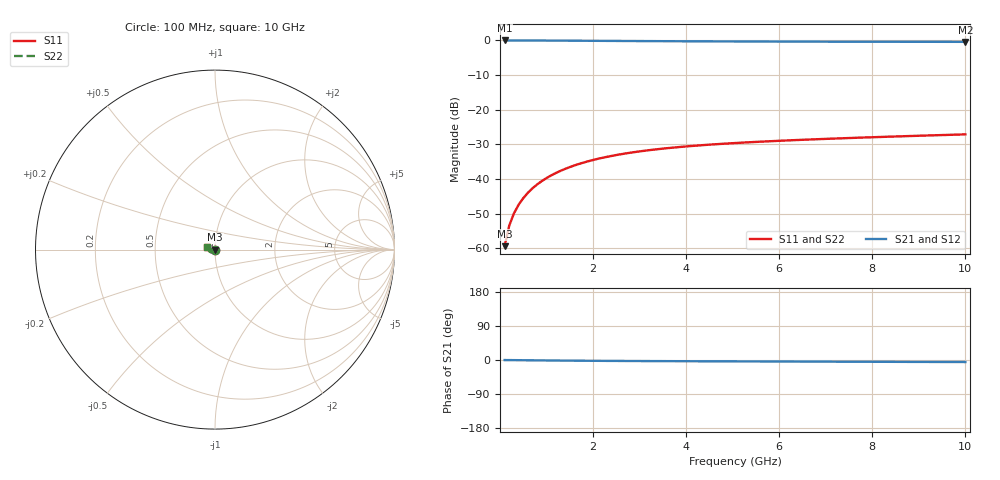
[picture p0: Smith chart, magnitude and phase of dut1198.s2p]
! Touchstone file exported from HFSS 2024.1.0
!  File:  C:/UserFiles/LocalFiles/RDL_TSV_Batchsim/temp_TSV1_1198_1780076220.aedt
!  Generated:  01:41:17 AM May 30, 2026
!  Design:  TSV1
!  Project:  temp_TSV1_1198_1780076220
!  Setup:  Setup1
!  Solution:  Sweep
! Variables:
!  dtsv = 8.96um
!  hbump = 3um
!  htsv = 82.71um
!  lrdl = 252.1521522um
!  p = 40
!  p1 = 54.55um
!  t = 500um
!  trdl = 3um
!  wrdl = 24.89489489um
# GHz S MA R 50.000000
! Terminal data exported
! Port[1] = TSV22_T1
! Port[2] = TSV22_T2
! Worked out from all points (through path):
!   100 points, 100 MHz to 10 GHz, reference 50 ohm
!   highest |S21| = 0.00 dB at 100 MHz (marker M1); lowest = -0.4 dB at 10 GHz (marker M2)
!   lowest |S11| = -59.3 dB at 100 MHz (marker M3), VSWR 1.00, Z = 50 - j0.107 ohm
!   |S11| at or under -10 dB: start of sweep to end of sweep
!   |S22| runs from -59.3 to -27.1 dB; largest |S21 - S12| = 7.4e-15
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0.1  0.001079 -82.2  0.9998 -0.1  0.9998 -0.1  0.001079 -82.2
! Gamma 0 0 0 0
! Port Impedance 50 0 50 0
0.2  0.002138 -88.9  0.9996 -0.2  0.9996 -0.2  0.002138 -88.9
0.3  0.003201 -92.5  0.9994 -0.4  0.9994 -0.4  0.003201 -92.5
0.4  0.00426 -95.4  0.9992 -0.5  0.9992 -0.5  0.00426 -95.4
0.5  0.005311 -97.9  0.9988 -0.6  0.9988 -0.6  0.005311 -97.9
0.6  0.006351 -100.2  0.9984 -0.7  0.9984 -0.7  0.006351 -100.2
0.7  0.007377 -102.4  0.9979 -0.8  0.9979 -0.8  0.007377 -102.4
0.8  0.008387 -104.6  0.9974 -1.0  0.9974 -1.0  0.008387 -104.6
0.9  0.00938 -106.7  0.9968 -1.1  0.9968 -1.1  0.00938 -106.7
1.1  0.01131 -110.7  0.9955 -1.3  0.9955 -1.3  0.01131 -110.7
1.4  0.01404 -116.5  0.9933 -1.6  0.9933 -1.6  0.01404 -116.5
1.6  0.01575 -120.1  0.9916 -1.8  0.9916 -1.8  0.01575 -120.1
1.8  0.01736 -123.6  0.9899 -1.9  0.9899 -1.9  0.01736 -123.6
2.1  0.01959 -128.6  0.9873 -2.2  0.9873 -2.2  0.01959 -128.6
2.5  0.02225 -134.8  0.9838 -2.5  0.9838 -2.5  0.02225 -134.8
2.9  0.02457 -140.5  0.9805 -2.7  0.9805 -2.7  0.02457 -140.5
3.4  0.02708 -147.0  0.9767 -3.0  0.9767 -3.0  0.02707 -147.0
4.2  0.03034 -156.2  0.9715 -3.3  0.9715 -3.3  0.03034 -156.2
5.1  0.03327 -165.0  0.9669 -3.7  0.9669 -3.7  0.03327 -165.0
6.7  0.03737 -177.8  0.9611 -4.2  0.9611 -4.2  0.03737 -177.8
8.4  0.041 171.3  0.9571 -4.8  0.9571 -4.8  0.041 171.3
10  0.04418 162.8  0.9545 -5.4  0.9545 -5.4  0.04418 162.8
